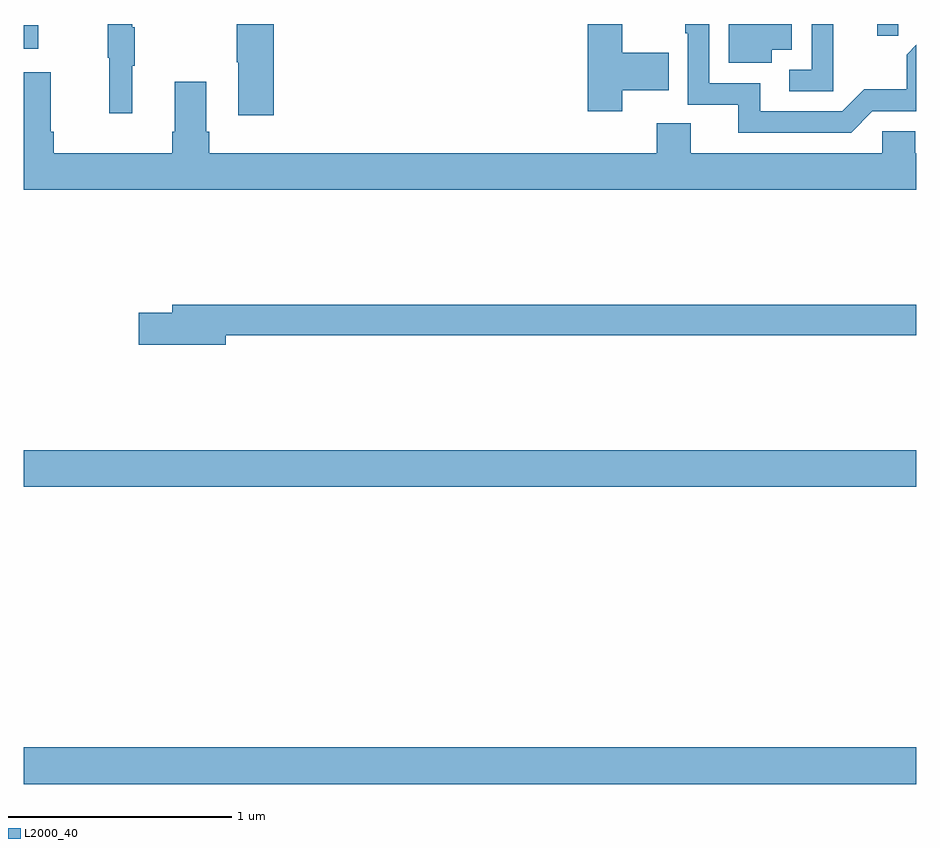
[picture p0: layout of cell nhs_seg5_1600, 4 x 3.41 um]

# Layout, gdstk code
import gdstk
lib = gdstk.Library(unit=1e-6, precision=1e-09)
def R(c, l, rs):  # rectangles x0, y0, x1, y1
    for r in rs: c.add(gdstk.rectangle(r[:2], r[2:], *l))
def P(c, l, *ps):  # polygons
    for p in ps: c.add(gdstk.Polygon(p, *l))
L2000_40 = (2000, 40)

nhs_seg5_1600 = lib.new_cell('nhs_seg5_1600')
R(nhs_seg5_1600, L2000_40, [(207,891.392,211,891.556), (207,892.724,211,892.888), (207,894.689,207.064,894.793), (210.826,894.747,210.92,894.799)])
P(nhs_seg5_1600, L2000_40, [(208.121,894.799),(207.955,894.799),(207.955,894.628),(207.962,894.628),(207.962,894.39),(208.121,894.39)],
  [(207.485,894.611),(207.496,894.611),(207.496,894.785),(207.485,894.785),(207.485,894.799),(207.375,894.799),(207.375,894.648),(207.382,894.648),(207.382,894.399),(207.485,894.399)],
  [(210.804,894.408),(211,894.408),(211,894.705),(210.957,894.662),(210.957,894.507),(210.768,894.507),(210.669,894.408),(210.301,894.408),(210.301,894.534),(210.072,894.534),(210.072,894.799),(209.964,894.799),(209.964,894.757),(209.976,894.757),(209.976,894.438),(210.203,894.438),(210.203,894.312),(210.708,894.312)],
  [(209.682,894.503),(209.891,894.503),(209.891,894.669),(209.682,894.669),(209.682,894.799),(209.528,894.799),(209.528,894.408),(209.682,894.408)],
  [(210.352,894.683),(210.442,894.683),(210.442,894.799),(210.161,894.799),(210.161,894.626),(210.352,894.626)],
  [(210.629,894.799),(210.531,894.799),(210.531,894.594),(210.432,894.594),(210.432,894.498),(210.629,894.498)],
  [(211,894.22),(210.996,894.22),(210.996,894.318),(210.849,894.318),(210.849,894.22),(209.989,894.22),(209.989,894.353),(209.837,894.353),(209.837,894.22),(207.83,894.22),(207.83,894.316),(207.817,894.316),(207.817,894.541),(207.677,894.541),(207.677,894.316),(207.665,894.316),(207.665,894.22),(207.134,894.22),(207.134,894.316),(207.121,894.316),(207.121,894.583),(207,894.583),(207,894.056),(211,894.056)],
  [(207.904,893.404),(211,893.404),(211,893.54),(207.665,893.54),(207.665,893.504),(207.516,893.504),(207.516,893.362),(207.904,893.362)])

lib.write_gds('nhs_seg5_1600.gds')
